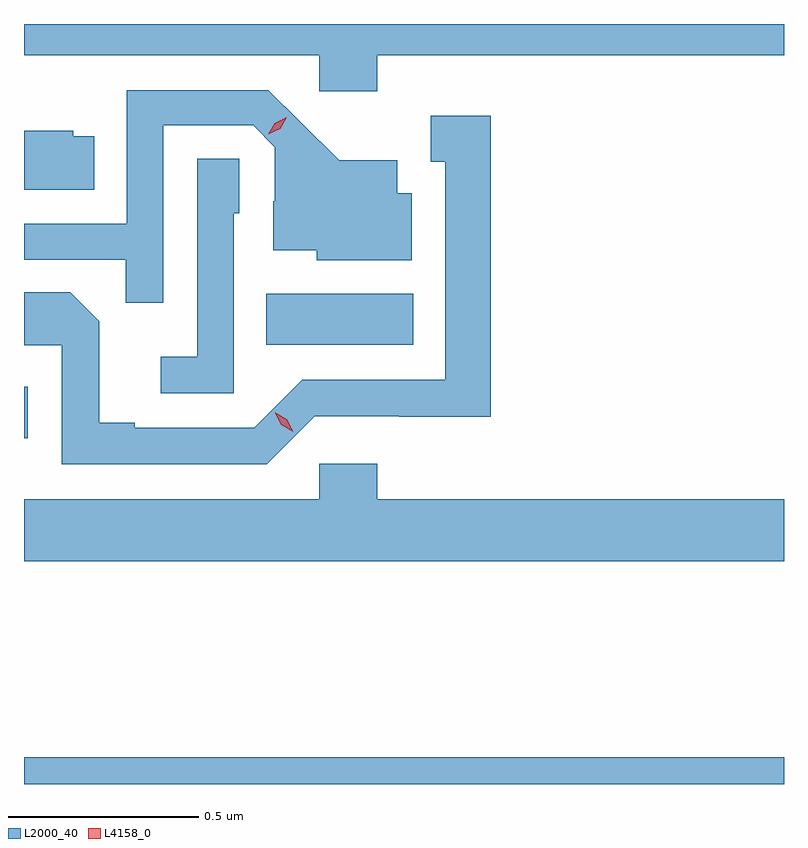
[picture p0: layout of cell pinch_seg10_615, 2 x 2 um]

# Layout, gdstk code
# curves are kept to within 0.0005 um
import gdstk
lib = gdstk.Library(unit=1e-6, precision=1e-09)
def R(c, l, rs):  # rectangles x0, y0, x1, y1
    for r in rs: c.add(gdstk.rectangle(r[:2], r[2:], *l))
def P(c, l, *ps):  # polygons
    for p in ps: c.add(gdstk.Polygon(p, *l))
L2000_40 = (2000, 40)
L4158_0 = (4158, 0)

pinch_seg10_615 = lib.new_cell('pinch_seg10_615')
R(pinch_seg10_615, L2000_40, [(366.723,1277.086,368.723,1277.156), (366.723,1277.996,366.733,1278.132), (367.36,1278.242,367.747,1278.376)])
P(pinch_seg10_615, L2000_40, [(367.652,1279.004),(368.723,1279.004),(368.723,1279.086),(366.723,1279.086),(366.723,1279.004),(367.5,1279.004),(367.5,1278.909),(367.652,1278.909)],
  [(367.089,1278.819),(367.326,1278.819),(367.383,1278.762),(367.383,1278.62),(367.379,1278.62),(367.379,1278.491),(367.494,1278.491),(367.494,1278.464),(367.744,1278.464),(367.744,1278.64),(367.705,1278.64),(367.705,1278.727),(367.553,1278.727),(367.366,1278.912),(366.993,1278.912),(366.993,1278.561),(366.723,1278.561),(366.723,1278.465),(366.991,1278.465),(366.991,1278.352),(367.089,1278.352)],
  [(367.488,1278.054),(367.71,1278.054),(367.71,1278.053),(367.951,1278.053),(367.951,1278.844),(367.793,1278.844),(367.793,1278.723),(367.832,1278.723),(367.832,1278.15),(367.455,1278.15),(367.329,1278.024),(367.015,1278.024),(367.015,1278.037),(366.921,1278.037),(366.921,1278.304),(366.845,1278.38),(366.723,1278.38),(366.723,1278.24),(366.822,1278.24),(366.822,1277.928),(367.362,1277.928)],
  [(366.908,1278.79),(366.852,1278.79),(366.852,1278.805),(366.723,1278.805),(366.723,1278.65),(366.908,1278.65)],
  [(367.275,1278.588),(367.29,1278.588),(367.29,1278.731),(367.179,1278.731),(367.179,1278.211),(367.083,1278.211),(367.083,1278.114),(367.275,1278.114)],
  [(368.723,1277.836),(367.652,1277.836),(367.652,1277.929),(367.5,1277.929),(367.5,1277.836),(366.723,1277.836),(366.723,1277.672),(368.723,1277.672)])
P(pinch_seg10_615, L4158_0, [(367.432,1278.013),(367.4,1278.032),(367.383,1278.064),(367.383,1278.064),(367.383,1278.064),(367.415,1278.046),(367.432,1278.013),(367.432,1278.013)],
  [(367.366,1278.796),(367.366,1278.796),(367.383,1278.825),(367.414,1278.84),(367.415,1278.84),(367.415,1278.84),(367.397,1278.81),(367.366,1278.796)])

lib.write_gds('pinch_seg10_615.gds')
